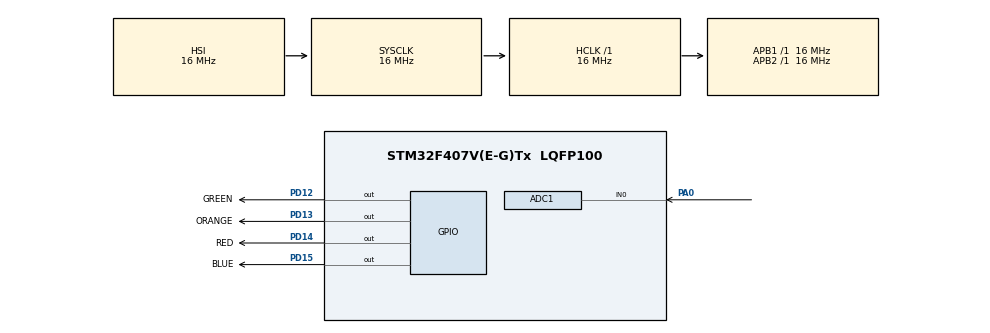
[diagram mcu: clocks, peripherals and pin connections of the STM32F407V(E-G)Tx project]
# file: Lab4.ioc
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ADC1.Channel-0\#ChannelRegularConversion=ADC_CHANNEL_0
ADC1.ClockPrescaler=ADC_CLOCK_SYNC_PCLK_DIV8
ADC1.NbrOfConversionFlag=1
ADC1.Rank-0\#ChannelRegularConversion=1
ADC1.SamplingTime-0\#ChannelRegularConversion=ADC_SAMPLETIME_480CYCLES
ADC1.master=1
Mcu.Family=STM32F4
Mcu.Name=STM32F407V(E-G)Tx
Mcu.Package=LQFP100
NVIC.ADC_IRQn=true\:0\:0\:false\:false\:true\:true\:true\:true
NVIC.PriorityGroup=NVIC_PRIORITYGROUP_4
PA0-WKUP.Signal=ADCx_IN0
PD12.GPIO_Label=GREEN
PD12.Signal=GPIO_Output
PD13.GPIO_Label=ORANGE
PD13.Signal=GPIO_Output
PD14.GPIO_Label=RED
PD14.Signal=GPIO_Output
PD15.GPIO_Label=BLUE
PD15.Signal=GPIO_Output
ProjectManager.HeapSize=0x200
ProjectManager.StackSize=0x400
ProjectManager.TargetToolchain=STM32CubeIDE
RCC.AHBFreq_Value=16000000
RCC.APB1Freq_Value=16000000
RCC.APB2Freq_Value=16000000
RCC.CortexFreq_Value=16000000
RCC.HSE_VALUE=25000000
RCC.HSI_VALUE=16000000
RCC.LSE_VALUE=32768
RCC.SYSCLKFreq_VALUE=16000000
RCC.VCOOutputFreq_Value=192000000
SH.ADCx_IN0.0=ADC1_IN0,IN0
board=custom

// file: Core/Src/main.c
/* USER CODE BEGIN Header */
/**
  ******************************************************************************
  * @file           : main.c
  * @brief          : Main program body
  ******************************************************************************
  * @attention
  *
  * Copyright (c) 2023 STMicroelectronics.
  * All rights reserved.
  *
  * This software is licensed under terms that can be found in the LICENSE file
  * in the root directory of this software component.
  * If no LICENSE file comes with this software, it is provided AS-IS.
  *
  ******************************************************************************
  */
/* USER CODE END Header */
#include "main.h"

ADC_HandleTypeDef hadc1;

void SystemClock_Config(void);
static void MX_GPIO_Init(void);
static void MX_ADC1_Init(void);
/* USER CODE BEGIN PFP */

void HAL_ADC_ConvCpltCallback(ADC_HandleTypeDef* hadc)
{
  uint32_t adcValue;

  if(hadc->Instance == ADC1)
  {
        adcValue = HAL_ADC_GetValue(&hadc1);

        // 0..20%
        if (adcValue >= 0 && adcValue < 4096 / 5)
        {
            HAL_GPIO_WritePin(GPIOD, GREEN_Pin, GPIO_PIN_RESET);
            HAL_GPIO_WritePin(GPIOD, ORANGE_Pin, GPIO_PIN_RESET);
            HAL_GPIO_WritePin(GPIOD, RED_Pin, GPIO_PIN_RESET);
            HAL_GPIO_WritePin(GPIOD, BLUE_Pin, GPIO_PIN_RESET);
        }
        // 20..40%
        else if (adcValue >= 4096 / 5 && adcValue < 2 * 4096 / 5)
        {
            HAL_GPIO_WritePin(GPIOD, GREEN_Pin, GPIO_PIN_SET);
            HAL_GPIO_WritePin(GPIOD, ORANGE_Pin, GPIO_PIN_RESET);
            HAL_GPIO_WritePin(GPIOD, RED_Pin, GPIO_PIN_RESET);
            HAL_GPIO_WritePin(GPIOD, BLUE_Pin, GPIO_PIN_RESET);
        }
        // 40..60%
        else if (adcValue >= 2 * 4096 / 5 && adcValue < 3 * 4096 / 5)
        {
            HAL_GPIO_WritePin(GPIOD, GREEN_Pin, GPIO_PIN_SET);
            HAL_GPIO_WritePin(GPIOD, ORANGE_Pin, GPIO_PIN_SET);
            HAL_GPIO_WritePin(GPIOD, RED_Pin, GPIO_PIN_RESET);
            HAL_GPIO_WritePin(GPIOD, BLUE_Pin, GPIO_PIN_RESET);
        }
        // 60..80%
        else if (adcValue >= 3 * 4096 / 5 && adcValue < 4 * 4096 / 5)
        {
            HAL_GPIO_WritePin(GPIOD, GREEN_Pin, GPIO_PIN_SET);
            HAL_GPIO_WritePin(GPIOD, ORANGE_Pin, GPIO_PIN_SET);
            HAL_GPIO_WritePin(GPIOD, RED_Pin, GPIO_PIN_SET);
            HAL_GPIO_WritePin(GPIOD, BLUE_Pin, GPIO_PIN_RESET);
        }
        // 80..100%
        else
        {
            HAL_GPIO_WritePin(GPIOD, GREEN_Pin, GPIO_PIN_SET);
            HAL_GPIO_WritePin(GPIOD, ORANGE_Pin, GPIO_PIN_SET);
            HAL_GPIO_WritePin(GPIOD, RED_Pin, GPIO_PIN_RESET);
            HAL_GPIO_WritePin(GPIOD, BLUE_Pin, GPIO_PIN_SET);
        }

        HAL_ADC_Start_IT(&hadc1);
  }
}

/* USER CODE END PFP */

int main(void)
{

  /* MCU Configuration--------------------------------------------------------*/

  /* Reset of all peripherals, Initializes the Flash interface and the Systick. */
  HAL_Init();

  /* Configure the system clock */
  SystemClock_Config();

  /* Initialize all configured peripherals */
  MX_GPIO_Init();
  MX_ADC1_Init();
  /* USER CODE BEGIN 2 */

  HAL_ADC_Start_IT(&hadc1);

  /* USER CODE END 2 */

  /* Infinite loop */
  while (1)
  {

  }
}

void SystemClock_Config(void)
{
  RCC_OscInitTypeDef RCC_OscInitStruct = {0};
  RCC_ClkInitTypeDef RCC_ClkInitStruct = {0};

  /** Configure the main internal regulator output voltage
  */
  __HAL_RCC_PWR_CLK_ENABLE();
  __HAL_PWR_VOLTAGESCALING_CONFIG(PWR_REGULATOR_VOLTAGE_SCALE1);

  /** Initializes the RCC Oscillators according to the specified parameters
  * in the RCC_OscInitTypeDef structure.
  */
  RCC_OscInitStruct.OscillatorType = RCC_OSCILLATORTYPE_HSI;
  RCC_OscInitStruct.HSIState = RCC_HSI_ON;
  RCC_OscInitStruct.HSICalibrationValue = RCC_HSICALIBRATION_DEFAULT;
  RCC_OscInitStruct.PLL.PLLState = RCC_PLL_NONE;
  if (HAL_RCC_OscConfig(&RCC_OscInitStruct) != HAL_OK)
  {
    Error_Handler();
  }

  /** Initializes the CPU, AHB and APB buses clocks
  */
  RCC_ClkInitStruct.ClockType = RCC_CLOCKTYPE_HCLK|RCC_CLOCKTYPE_SYSCLK
                              |RCC_CLOCKTYPE_PCLK1|RCC_CLOCKTYPE_PCLK2;
  RCC_ClkInitStruct.SYSCLKSource = RCC_SYSCLKSOURCE_HSI;
  RCC_ClkInitStruct.AHBCLKDivider = RCC_SYSCLK_DIV1;
  RCC_ClkInitStruct.APB1CLKDivider = RCC_HCLK_DIV1;
  RCC_ClkInitStruct.APB2CLKDivider = RCC_HCLK_DIV1;

  if (HAL_RCC_ClockConfig(&RCC_ClkInitStruct, FLASH_LATENCY_0) != HAL_OK)
  {
    Error_Handler();
  }
}

static void MX_ADC1_Init(void)
{

  ADC_ChannelConfTypeDef sConfig = {0};

  /** Configure the global features of the ADC (Clock, Resolution, Data Alignment and number of conversion)
  */
  hadc1.Instance = ADC1;
  hadc1.Init.ClockPrescaler = ADC_CLOCK_SYNC_PCLK_DIV8;
  hadc1.Init.Resolution = ADC_RESOLUTION_12B;
  hadc1.Init.ScanConvMode = DISABLE;
  hadc1.Init.ContinuousConvMode = DISABLE;
  hadc1.Init.DiscontinuousConvMode = DISABLE;
  hadc1.Init.ExternalTrigConvEdge = ADC_EXTERNALTRIGCONVEDGE_NONE;
  hadc1.Init.ExternalTrigConv = ADC_SOFTWARE_START;
  hadc1.Init.DataAlign = ADC_DATAALIGN_RIGHT;
  hadc1.Init.NbrOfConversion = 1;
  hadc1.Init.DMAContinuousRequests = DISABLE;
  hadc1.Init.EOCSelection = ADC_EOC_SINGLE_CONV;
  if (HAL_ADC_Init(&hadc1) != HAL_OK)
  {
    Error_Handler();
  }

  /** Configure for the selected ADC regular channel its corresponding rank in the sequencer and its sample time.
  */
  sConfig.Channel = ADC_CHANNEL_0;
  sConfig.Rank = 1;
  sConfig.SamplingTime = ADC_SAMPLETIME_480CYCLES;
  if (HAL_ADC_ConfigChannel(&hadc1, &sConfig) != HAL_OK)
  {
    Error_Handler();
  }

}

static void MX_GPIO_Init(void)
{
  GPIO_InitTypeDef GPIO_InitStruct = {0};

  /* GPIO Ports Clock Enable */
  __HAL_RCC_GPIOA_CLK_ENABLE();
  __HAL_RCC_GPIOD_CLK_ENABLE();

  /*Configure GPIO pin Output Level */
  HAL_GPIO_WritePin(GPIOD, GREEN_Pin|ORANGE_Pin|RED_Pin|BLUE_Pin, GPIO_PIN_RESET);

  /*Configure GPIO pins : GREEN_Pin ORANGE_Pin RED_Pin BLUE_Pin */
  GPIO_InitStruct.Pin = GREEN_Pin|ORANGE_Pin|RED_Pin|BLUE_Pin;
  GPIO_InitStruct.Mode = GPIO_MODE_OUTPUT_PP;
  GPIO_InitStruct.Pull = GPIO_NOPULL;
  GPIO_InitStruct.Speed = GPIO_SPEED_FREQ_LOW;
  HAL_GPIO_Init(GPIOD, &GPIO_InitStruct);

}

void Error_Handler(void)
{
  __disable_irq();
  while (1)
  {
  }
}
